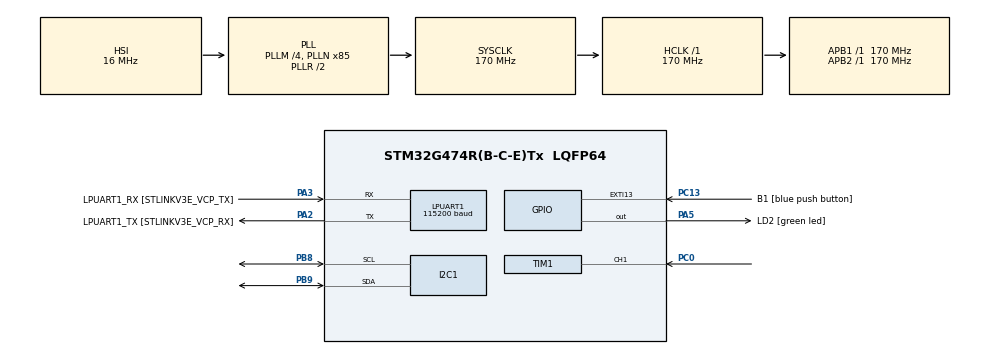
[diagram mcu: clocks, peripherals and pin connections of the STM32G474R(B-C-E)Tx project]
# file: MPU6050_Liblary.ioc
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I2C1.Timing=0x40B285C2
LPUART1.BaudRate=115200
Mcu.Family=STM32G4
Mcu.Name=STM32G474R(B-C-E)Tx
Mcu.Package=LQFP64
NVIC.EXTI15_10_IRQn=true\:0\:0\:false\:false\:true\:true\:true\:true
NVIC.PriorityGroup=NVIC_PRIORITYGROUP_4
NVIC.TIM1_UP_TIM16_IRQn=true\:0\:0\:false\:true\:true\:2\:true\:true\:true
NVIC.TIM3_IRQn=true\:0\:0\:false\:true\:true\:1\:true\:true\:true
PA13.GPIO_Label=T_SWDIO
PA13.Mode=Serial_Wire
PA13.Signal=SYS_JTMS-SWDIO
PA14.GPIO_Label=T_SWCLK
PA14.Mode=Serial_Wire
PA14.Signal=SYS_JTCK-SWCLK
PA2.GPIO_Label=LPUART1_TX [STLINKV3E_VCP_RX]
PA2.Mode=Asynchronous
PA2.Signal=LPUART1_TX
PA3.GPIO_Label=LPUART1_RX [STLINKV3E_VCP_TX]
PA3.Mode=Asynchronous
PA3.Signal=LPUART1_RX
PA5.GPIO_Label=LD2 [green led]
PA5.Signal=GPIO_Output
PB3.GPIO_Label=T_SWO
PB3.Signal=SYS_JTDO-SWO
PB8-BOOT0.Mode=I2C
PB8-BOOT0.Signal=I2C1_SCL
PB9.Mode=I2C
PB9.Signal=I2C1_SDA
PC0.Signal=S_TIM1_CH1
PC13.GPIO_Label=B1 [blue push button]
PC13.Signal=GPXTI13
PC14-OSC32_IN.GPIO_Label=RCC_OSC32_IN
PC14-OSC32_IN.Mode=LSE-External-Oscillator
PC14-OSC32_IN.Signal=RCC_OSC32_IN
PC15-OSC32_OUT.GPIO_Label=RCC_OSC32_OUT
PC15-OSC32_OUT.Mode=LSE-External-Oscillator
PC15-OSC32_OUT.Signal=RCC_OSC32_OUT
PF0-OSC_IN.GPIO_Label=RCC_OSC_IN
PF0-OSC_IN.Mode=HSE-External-Oscillator
PF0-OSC_IN.Signal=RCC_OSC_IN
PF1-OSC_OUT.GPIO_Label=RCC_OSC_OUT
PF1-OSC_OUT.Mode=HSE-External-Oscillator
PF1-OSC_OUT.Signal=RCC_OSC_OUT
ProjectManager.HeapSize=0x200
ProjectManager.StackSize=0x400
ProjectManager.TargetToolchain=STM32CubeIDE
RCC.ADC12Freq_Value=170000000
RCC.ADC345Freq_Value=170000000
RCC.AHBFreq_Value=170000000
RCC.APB1Freq_Value=170000000
RCC.APB1TimFreq_Value=170000000
RCC.APB2Freq_Value=170000000
RCC.APB2TimFreq_Value=170000000
RCC.CortexFreq_Value=170000000
RCC.EXTERNAL_CLOCK_VALUE=12288000
RCC.HCLKFreq_Value=170000000
RCC.HSE_VALUE=24000000
RCC.HSI48_VALUE=48000000
RCC.HSI_VALUE=16000000
RCC.PLLM=RCC_PLLM_DIV4
RCC.PLLN=85
RCC.RTCClockSelection=RCC_RTCCLKSOURCE_LSE
RCC.SYSCLKFreq_VALUE=170000000
RCC.SYSCLKSource=RCC_SYSCLKSOURCE_PLLCLK
RCC.USBFreq_Value=170000000
RCC.VCOOutputFreq_Value=340000000
SH.S_TIM1_CH1.0=TIM1_CH1,Input_Capture1_from_TI1
TIM1.Channel-Input_Capture1_from_TI1=TIM_CHANNEL_1
TIM1.PeriodNoDither=999
TIM1.Prescaler=16999
TIM3.PeriodNoDither=999
TIM3.Prescaler=16999
VP_SYS_VS_DBSignals.Mode=DisableDeadBatterySignals
VP_TIM1_VS_ClockSourceINT.Mode=Internal
VP_TIM3_VS_ClockSourceINT.Mode=Internal
board=NUCLEO-G474RE

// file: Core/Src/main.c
/* USER CODE BEGIN Header */
/**
  ******************************************************************************
  * @file           : main.c
  * @brief          : Main program body
  ******************************************************************************
  * @attention
  *
  * Copyright (c) 2025 STMicroelectronics.
  * All rights reserved.
  *
  * This software is licensed under terms that can be found in the LICENSE file
  * in the root directory of this software component.
  * If no LICENSE file comes with this software, it is provided AS-IS.
  *
  ******************************************************************************
  */
/* USER CODE END Header */
#include "main.h"
#include "i2c.h"
#include "usart.h"
#include "tim.h"
#include "gpio.h"

/* USER CODE BEGIN Includes */
#include "MPU6050.h"
#include "Filters.h"
#include <stdio.h>
#include <string.h>
/* USER CODE END Includes */

/* USER CODE BEGIN PV */

//MPU6050
MPU6050_t MPU6050;
float Roll, Pitch, Yaw;
float RollA, PitchA, YawA;
float RollG, PitchG, YawG;
volatile uint8_t InterruptFlag = 0;

char Message[128];
uint8_t Length;

Data_t CalibrateAccel;
Data_t CalibrateGyro;

uint8_t Flag =0;

/* USER CODE END PV */

void SystemClock_Config(void);
static void MX_NVIC_Init(void);

int main(void)
{

  /* MCU Configuration--------------------------------------------------------*/

  /* Reset of all peripherals, Initializes the Flash interface and the Systick. */
  HAL_Init();

  /* Configure the system clock */
  SystemClock_Config();

  /* Initialize all configured peripherals */
  MX_GPIO_Init();
  MX_I2C1_Init();
  MX_LPUART1_UART_Init();
  MX_TIM3_Init();
  MX_TIM1_Init();

  /* Initialize interrupts */
  MX_NVIC_Init();
  /* USER CODE BEGIN 2 */
  MPU6050_Init(&MPU6050, &hi2c1, 0x68);

  HAL_TIM_Base_Start_IT(&htim3);

  /* USER CODE END 2 */

  /* Infinite loop */
  /* USER CODE BEGIN WHILE */

  while (1)
  {
	  /*
	  //code to calibrate gyro
	  if(Flag == 0)
	  {
		  Flag = 1;
		  MPU6050_CalibrateAccel(&MPU6050, &CalibrateAccel);
		  MPU6050_CalibrateGyro(&MPU6050, &CalibrateGyro);
	  }
	  */

	  if(InterruptFlag)
	  {
		  InterruptFlag = 0;

		  Length = sprintf(Message, "%.3f\n", Pitch);
		  HAL_UART_Transmit(&hlpuart1, Message, Length,  10);
	  }

    /* USER CODE END WHILE */

  }
}

void SystemClock_Config(void)
{
  RCC_OscInitTypeDef RCC_OscInitStruct = {0};
  RCC_ClkInitTypeDef RCC_ClkInitStruct = {0};

  /** Configure the main internal regulator output voltage
  */
  HAL_PWREx_ControlVoltageScaling(PWR_REGULATOR_VOLTAGE_SCALE1_BOOST);

  /** Initializes the RCC Oscillators according to the specified parameters
  * in the RCC_OscInitTypeDef structure.
  */
  RCC_OscInitStruct.OscillatorType = RCC_OSCILLATORTYPE_HSI;
  RCC_OscInitStruct.HSIState = RCC_HSI_ON;
  RCC_OscInitStruct.HSICalibrationValue = RCC_HSICALIBRATION_DEFAULT;
  RCC_OscInitStruct.PLL.PLLState = RCC_PLL_ON;
  RCC_OscInitStruct.PLL.PLLSource = RCC_PLLSOURCE_HSI;
  RCC_OscInitStruct.PLL.PLLM = RCC_PLLM_DIV4;
  RCC_OscInitStruct.PLL.PLLN = 85;
  RCC_OscInitStruct.PLL.PLLP = RCC_PLLP_DIV2;
  RCC_OscInitStruct.PLL.PLLQ = RCC_PLLQ_DIV2;
  RCC_OscInitStruct.PLL.PLLR = RCC_PLLR_DIV2;
  if (HAL_RCC_OscConfig(&RCC_OscInitStruct) != HAL_OK)
  {
    Error_Handler();
  }

  /** Initializes the CPU, AHB and APB buses clocks
  */
  RCC_ClkInitStruct.ClockType = RCC_CLOCKTYPE_HCLK|RCC_CLOCKTYPE_SYSCLK
                              |RCC_CLOCKTYPE_PCLK1|RCC_CLOCKTYPE_PCLK2;
  RCC_ClkInitStruct.SYSCLKSource = RCC_SYSCLKSOURCE_PLLCLK;
  RCC_ClkInitStruct.AHBCLKDivider = RCC_SYSCLK_DIV1;
  RCC_ClkInitStruct.APB1CLKDivider = RCC_HCLK_DIV1;
  RCC_ClkInitStruct.APB2CLKDivider = RCC_HCLK_DIV1;

  if (HAL_RCC_ClockConfig(&RCC_ClkInitStruct, FLASH_LATENCY_4) != HAL_OK)
  {
    Error_Handler();
  }
}

/**
  * @brief NVIC Configuration.
  * @retval None
  */
static void MX_NVIC_Init(void)
{
  /* TIM3_IRQn interrupt configuration */
  HAL_NVIC_SetPriority(TIM3_IRQn, 0, 0);
  HAL_NVIC_EnableIRQ(TIM3_IRQn);
  /* TIM1_UP_TIM16_IRQn interrupt configuration */
  HAL_NVIC_SetPriority(TIM1_UP_TIM16_IRQn, 0, 0);
  HAL_NVIC_EnableIRQ(TIM1_UP_TIM16_IRQn);
}

/* USER CODE BEGIN 4 */

void HAL_TIM_PeriodElapsedCallback(TIM_HandleTypeDef *htim)
{
	if(htim->Instance == TIM3)
	{
		MPU6050_Angle(&MPU6050, &Roll, &Pitch, &Yaw);
		InterruptFlag = 1;
	}

}
/* USER CODE END 4 */

void Error_Handler(void)
{
  __disable_irq();
  while (1)
  {
  }
}
